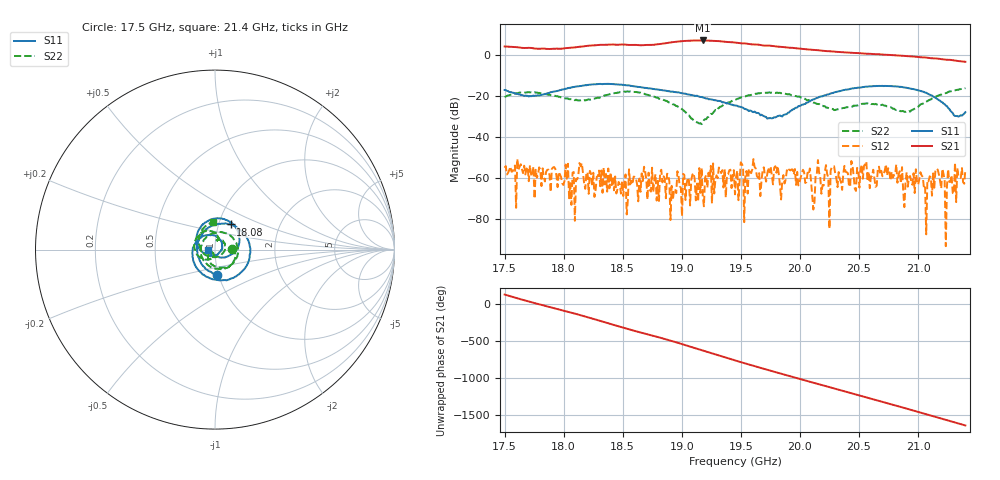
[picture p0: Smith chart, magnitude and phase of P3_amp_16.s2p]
!Created with skrf (http://scikit-rf.org).
# GHz S RI R 50.0
!freq ReS11 ImS11 ReS21 ImS21 ReS12 ImS12 ReS22 ImS22
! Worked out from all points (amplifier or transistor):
!   401 points, 17.5 GHz to 21.4 GHz, reference 50 ohm
!   highest |S21| = 7.1 dB at 19.18 GHz (marker M1)
!   |S21| within 3 dB of that: 18.14 GHz to 19.81 GHz (1.667 GHz wide, 8.78 % of centre) (the widest 1 of 2)
!   unconditionally stable (mu >= 1): start of sweep to end of sweep
!   at 18.14 GHz: K = 153.57, MAG = 4.2 dB, |S12| = -54.2 dB
!   at 19.45 GHz: K = 603.21, MAG = 6.1 dB, |S12| = -67.8 dB
!   at 21.4 GHz: K = 426.37, MAG = -3.2 dB, |S12| = -55.6 dB
!   S11 on the Smith chart (normalised r, x): 17.5 GHz: 0.98, -0.28; 18.08 GHz: 1.14, +0.33; 21.4 GHz: 0.92, -0.00
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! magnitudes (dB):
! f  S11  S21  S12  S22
! 17.5 GHz  -17.0  4.2  -54.9  -20.5
! 17.92 GHz  -17.8  3.1  -54.5  -19.8
! 18.08 GHz  -15.6  3.6  -57.3  -21.7
! 18.15 GHz  -15.0  4.1  -52.6  -21.9
! 18.52 GHz  -14.7  5.0  -58.1  -17.9
! 18.68 GHz  -15.9  4.8  -54.4  -18.8
! 18.81 GHz  -16.9  5.4  -71.0  -21.3
! 18.92 GHz  -17.8  6.3  -70.5  -24.0
! 18.96 GHz  -18.1  6.5  -56.5  -24.9
! 19.18 GHz  -20.7  7.1  -68.5  -33.0
! 19.45 GHz  -24.5  6.1  -67.8  -21.7
! 19.8 GHz  -30.1  4.1  -57.3  -18.3
! 19.85 GHz  -29.9  3.9  -61.5  -18.5
! 19.94 GHz  -26.5  3.5  -55.7  -19.5
! 20.07 GHz  -22.7  2.7  -58.2  -21.9
! 20.1 GHz  -21.8  2.5  -68.6  -22.9
! 20.15 GHz  -20.8  2.3  -51.1  -23.8
! 20.76 GHz  -15.1  0.1  -56.9  -25.3
! 21.07 GHz  -18.3  -1.2  -87.3  -22.8
! 21.17 GHz  -21.5  -1.7  -55.8  -19.8
! 21.25 GHz  -25.8  -2.3  -55.5  -18.0
! 21.4 GHz  -27.8  -3.3  -55.6  -16.1
